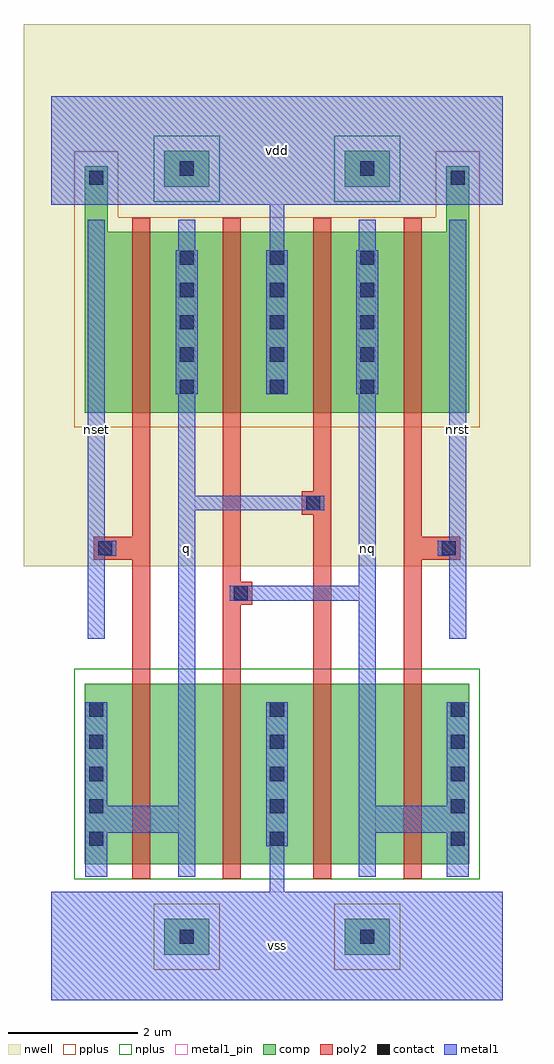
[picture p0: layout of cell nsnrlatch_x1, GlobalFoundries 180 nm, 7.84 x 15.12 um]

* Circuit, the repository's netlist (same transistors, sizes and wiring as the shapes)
* nsnrlatch_x1
.subckt nsnrlatch_x1 vss nq q vdd nrst nset
Mn_nq_1 _net1 nq vss vss nfet_03v3 l=0.28um w=2.8um
Mp_nq_1 q nq vdd vdd pfet_03v3 l=0.28um w=2.8um
Mp_nrst_1 nq nrst vdd vdd pfet_03v3 l=0.28um w=2.8um
Mn_nrst_1 _net0 nrst nq vss nfet_03v3 l=0.28um w=2.8um
Mp_nset_1 vdd nset q vdd pfet_03v3 l=0.28um w=2.8um
Mn_nset_1 q nset _net1 vss nfet_03v3 l=0.28um w=2.8um
Mp_q_1 vdd q nq vdd pfet_03v3 l=0.28um w=2.8um
Mn_q_1 vss q _net0 vss nfet_03v3 l=0.28um w=2.8um
.ends nsnrlatch_x1

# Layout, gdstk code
import gdstk
lib = gdstk.Library(unit=1e-6, precision=1e-09)
def R(c, l, rs):  # rectangles x0, y0, x1, y1
    for r in rs: c.add(gdstk.rectangle(r[:2], r[2:], *l))
def A(c, l, x, y, w, h, nx, ny, dx, dy):  # array of equal rectangles
    R(c, l, [(x+i*dx, y+j*dy, x+i*dx+w, y+j*dy+h) for i in range(nx) for j in range(ny)])
def P(c, l, *ps):  # polygons
    for p in ps: c.add(gdstk.Polygon(p, *l))
nwell = (21, 0)
comp = (22, 0)
poly2 = (30, 0)
pplus = (31, 0)
nplus = (32, 0)
contact = (33, 0)
metal1 = (34, 0)
metal1_pin = (34, 10)

nsnrlatch_x1 = lib.new_cell('nsnrlatch_x1')
R(nsnrlatch_x1, nwell, [(-0.42,6.72,7.42,15.12)])
R(nsnrlatch_x1, comp, [(1.75,0.7,2.45,1.26), (4.55,0.7,5.25,1.26), (0.52,2.1,6.48,4.9), (1.75,12.6,2.45,13.16), (4.55,12.6,5.25,13.16)])
P(nsnrlatch_x1, comp, [(0.52,9.1),(0.52,12.92),(0.88,12.92),(0.88,11.9),(6.12,11.9),(6.12,12.92),(6.48,12.92),(6.48,9.1)])
P(nsnrlatch_x1, poly2, [(2.66,1.88),(2.66,12.12),(2.94,12.12),(2.94,6.48),(3.12,6.48),(3.12,6.12),(2.94,6.12),(2.94,1.88)],
  [(4.06,1.88),(4.06,7.52),(3.88,7.52),(3.88,7.88),(4.06,7.88),(4.06,12.12),(4.34,12.12),(4.34,1.88)],
  [(5.46,1.88),(5.46,12.12),(5.74,12.12),(5.74,7.18),(6.34,7.18),(6.34,6.82),(5.74,6.82),(5.74,1.88)],
  [(1.26,1.88),(1.26,6.82),(0.66,6.82),(0.66,7.18),(1.26,7.18),(1.26,12.12),(1.54,12.12),(1.54,1.88)])
R(nsnrlatch_x1, pplus, [(1.59,0.47,2.61,1.49), (4.39,0.47,5.41,1.49)])
P(nsnrlatch_x1, pplus, [(0.36,8.87),(0.36,13.15),(1.04,13.15),(1.04,12.13),(5.96,12.13),(5.96,13.15),(6.64,13.15),(6.64,8.87)])
R(nsnrlatch_x1, nplus, [(0.36,1.87,6.64,5.13), (1.59,12.37,2.61,13.39), (4.39,12.37,5.41,13.39)])
A(nsnrlatch_x1, contact, 0.59, 2.39, 0.22, 0.22, 3, 5, 2.8, 0.5)
A(nsnrlatch_x1, contact, 1.99, 9.39, 0.22, 0.22, 3, 5, 1.4, 0.5)
R(nsnrlatch_x1, contact, [(1.99,0.87,2.21,1.09), (4.79,0.87,5.01,1.09), (2.83,6.19,3.05,6.41), (0.73,6.89,0.95,7.11), (6.05,6.89,6.27,7.11), (3.95,7.59,4.17,7.81), (0.59,12.63,0.81,12.85), (6.19,12.63,6.41,12.85), (1.99,12.77,2.21,12.99), (4.79,12.77,5.01,12.99)])
P(nsnrlatch_x1, metal1, [(0,0),(0,1.68),(3.385,1.68),(3.385,2.385),(3.33,2.385),(3.33,4.615),(3.67,4.615),(3.67,2.385),(3.615,2.385),(3.615,1.68),(7,1.68),(7,0)],
  [(4.77,1.91),(4.77,6.185),(2.77,6.185),(2.77,6.415),(4.77,6.415),(4.77,9.385),(4.73,9.385),(4.73,11.615),(4.77,11.615),(4.77,12.09),(5.03,12.09),(5.03,11.615),(5.07,11.615),(5.07,9.385),(5.03,9.385),(5.03,3.01),(6.13,3.01),(6.13,4.615),(6.47,4.615),(6.47,1.91),(6.13,1.91),(6.13,2.59),(5.03,2.59),(5.03,1.91)],
  [(0.53,1.91),(0.53,4.615),(0.87,4.615),(0.87,3.01),(1.97,3.01),(1.97,9.385),(1.93,9.385),(1.93,11.615),(1.97,11.615),(1.97,12.09),(2.23,12.09),(2.23,11.615),(2.27,11.615),(2.27,9.385),(2.23,9.385),(2.23,7.815),(4.23,7.815),(4.23,7.585),(2.23,7.585),(2.23,1.91),(1.97,1.91),(1.97,2.59),(0.87,2.59),(0.87,1.91)],
  [(3.33,9.385),(3.33,11.615),(3.385,11.615),(3.385,12.32),(0,12.32),(0,14),(7,14),(7,12.32),(3.615,12.32),(3.615,11.615),(3.67,11.615),(3.67,9.385)],
  [(6.17,5.6),(6.17,6.885),(5.99,6.885),(5.99,7.115),(6.17,7.115),(6.17,12.09),(6.43,12.09),(6.43,5.6)],
  [(0.57,5.6),(0.57,12.09),(0.83,12.09),(0.83,7.115),(1.01,7.115),(1.01,6.885),(0.83,6.885),(0.83,5.6)])
R(nsnrlatch_x1, metal1_pin, [(0,0,7,1.68), (1.97,1.91,2.23,12.09), (4.77,1.91,5.03,12.09), (0.57,5.6,0.83,12.09), (6.17,5.6,6.43,12.09), (0,12.32,7,14)])
nsnrlatch_x1.add(gdstk.Label('vss', (3.5,0.84), layer=34, texttype=10))
nsnrlatch_x1.add(gdstk.Label('nq', (4.9,7), layer=34, texttype=10))
nsnrlatch_x1.add(gdstk.Label('q', (2.1,7), layer=34, texttype=10))
nsnrlatch_x1.add(gdstk.Label('vdd', (3.5,13.16), layer=34, texttype=10))
nsnrlatch_x1.add(gdstk.Label('nrst', (6.3,8.845), layer=34, texttype=10))
nsnrlatch_x1.add(gdstk.Label('nset', (0.7,8.845), layer=34, texttype=10))

lib.write_gds('nsnrlatch_x1.gds')
